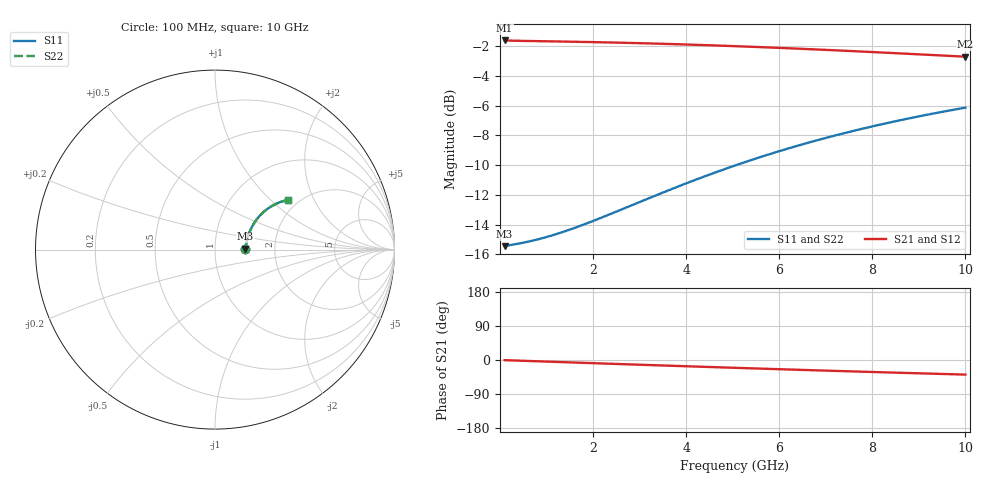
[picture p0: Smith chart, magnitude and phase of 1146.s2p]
# Hz S RI R 50.00
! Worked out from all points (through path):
!   100 points, 100 MHz to 10 GHz, reference 50 ohm
!   highest |S21| = -1.61 dB at 100 MHz (marker M1); lowest = -2.7 dB at 10 GHz (marker M2)
!   group delay of S21, straight-line fit = 10.7 ps
!   lowest |S11| = -15.5 dB at 100 MHz (marker M3), VSWR 1.41, Z = 70.3 + j0.628 ohm
!   |S11| at or under -10 dB: start of sweep to 5.073 GHz
!   |S22| runs from -15.5 to -6.1 dB; largest |S21 - S12| = 0
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1e8  0.1687 0.00434  0.8313 -0.00611  0.8313 -0.00611  0.1687 0.00434
6e8  0.1728 0.0258  0.8271 -0.0364  0.8271 -0.0364  0.1728 0.0258
9e8  0.1752 0.0385  0.8246 -0.0544  0.8246 -0.0544  0.1752 0.0385
1.3e9  0.179 0.0552  0.8207 -0.0782  0.8207 -0.0782  0.179 0.0552
1.5e9  0.1811 0.0635  0.8185 -0.09  0.8185 -0.09  0.1811 0.0635
1.8e9  0.1847 0.0757  0.8147 -0.1075  0.8147 -0.1075  0.1847 0.0757
2.2e9  0.1902 0.0917  0.8089 -0.1306  0.8089 -0.1306  0.1902 0.0917
2.6e9  0.1965 0.1073  0.8023 -0.1532  0.8023 -0.1532  0.1965 0.1073
3.4e9  0.2115 0.1369  0.7865 -0.1971  0.7865 -0.1971  0.2115 0.1369
3.9e9  0.2224 0.1543  0.775 -0.2233  0.775 -0.2233  0.2224 0.1543
4.3e9  0.2319 0.1676  0.7649 -0.2437  0.7649 -0.2437  0.2319 0.1676
4.7e9  0.242 0.1801  0.7542 -0.2634  0.7542 -0.2634  0.242 0.1801
5.1e9  0.2526 0.192  0.7429 -0.2824  0.7429 -0.2824  0.2526 0.192
5.5e9  0.2638 0.2031  0.731 -0.3007  0.731 -0.3007  0.2638 0.2031
5.9e9  0.2754 0.2136  0.7186 -0.3183  0.7186 -0.3183  0.2754 0.2136
6.3e9  0.2875 0.2232  0.7057 -0.3351  0.7057 -0.3351  0.2875 0.2232
6.7e9  0.2998 0.2321  0.6924 -0.3512  0.6924 -0.3512  0.2998 0.2321
7.5e9  0.3255 0.2477  0.6648 -0.3812  0.6648 -0.3812  0.3255 0.2477
7.9e9  0.3386 0.2543  0.6506 -0.3951  0.6506 -0.3951  0.3386 0.2543
8.4e9  0.3552 0.2615  0.6325 -0.4114  0.6325 -0.4114  0.3552 0.2615
9.2e9  0.382 0.2707  0.6032 -0.4351  0.6032 -0.4351  0.382 0.2707
1e10  0.4088 0.277  0.5736 -0.4562  0.5736 -0.4562  0.4088 0.277
